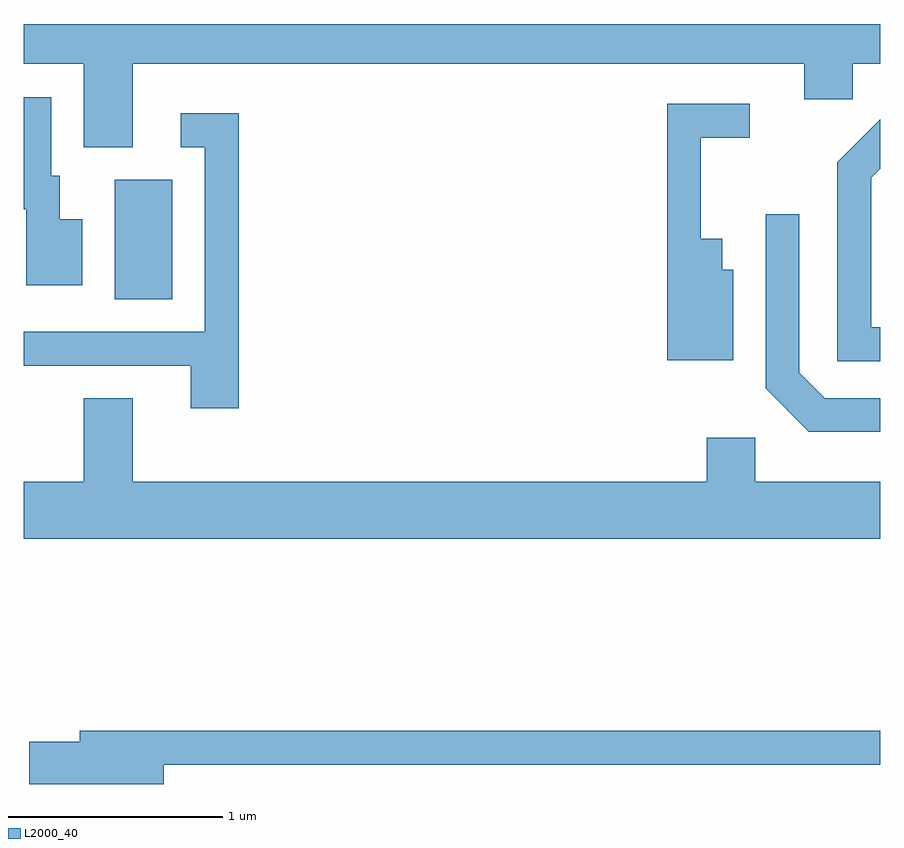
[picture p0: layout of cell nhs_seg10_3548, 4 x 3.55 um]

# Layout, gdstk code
import gdstk
lib = gdstk.Library(unit=1e-6, precision=1e-09)
def R(c, l, rs):  # rectangles x0, y0, x1, y1
    for r in rs: c.add(gdstk.rectangle(r[:2], r[2:], *l))
def P(c, l, *ps):  # polygons
    for p in ps: c.add(gdstk.Polygon(p, *l))
L2000_40 = (2000, 40)

nhs_seg10_3548 = lib.new_cell('nhs_seg10_3548')
R(nhs_seg10_3548, L2000_40, [(290.036,2137.236,290.304,2137.794)])
P(nhs_seg10_3548, L2000_40, [(290.119,2138.336),(293.256,2138.336),(293.256,2138.171),(293.484,2138.171),(293.484,2138.336),(293.611,2138.336),(293.611,2138.522),(289.611,2138.522),(289.611,2138.336),(289.891,2138.336),(289.891,2137.946),(290.119,2137.946)],
  [(289.884,2137.609),(289.779,2137.609),(289.779,2137.814),(289.739,2137.814),(289.739,2138.179),(289.611,2138.179),(289.611,2137.656),(289.621,2137.656),(289.621,2137.301),(289.884,2137.301)],
  [(292.924,2137.374),(292.874,2137.374),(292.874,2137.519),(292.774,2137.519),(292.774,2137.991),(293.003,2137.991),(293.003,2138.149),(292.616,2138.149),(292.616,2136.951),(292.924,2136.951)],
  [(290.614,2138.104),(290.343,2138.104),(290.343,2137.946),(290.456,2137.946),(290.456,2137.084),(289.611,2137.084),(289.611,2136.926),(290.391,2136.926),(290.391,2136.726),(290.614,2136.726)],
  [(293.611,2137.104),(293.569,2137.104),(293.569,2137.804),(293.611,2137.846),(293.611,2138.076),(293.411,2137.877),(293.411,2136.946),(293.611,2136.946)],
  [(293.611,2136.774),(293.352,2136.774),(293.234,2136.892),(293.234,2137.633),(293.076,2137.633),(293.076,2136.819),(293.279,2136.616),(293.611,2136.616)],
  [(293.611,2136.384),(293.029,2136.384),(293.029,2136.589),(292.801,2136.589),(292.801,2136.384),(290.119,2136.384),(290.119,2136.774),(289.891,2136.774),(289.891,2136.384),(289.611,2136.384),(289.611,2136.116),(293.611,2136.116)],
  [(290.264,2135.061),(293.611,2135.061),(293.611,2135.219),(289.871,2135.219),(289.871,2135.169),(289.636,2135.169),(289.636,2134.971),(290.264,2134.971)])

lib.write_gds('nhs_seg10_3548.gds')
